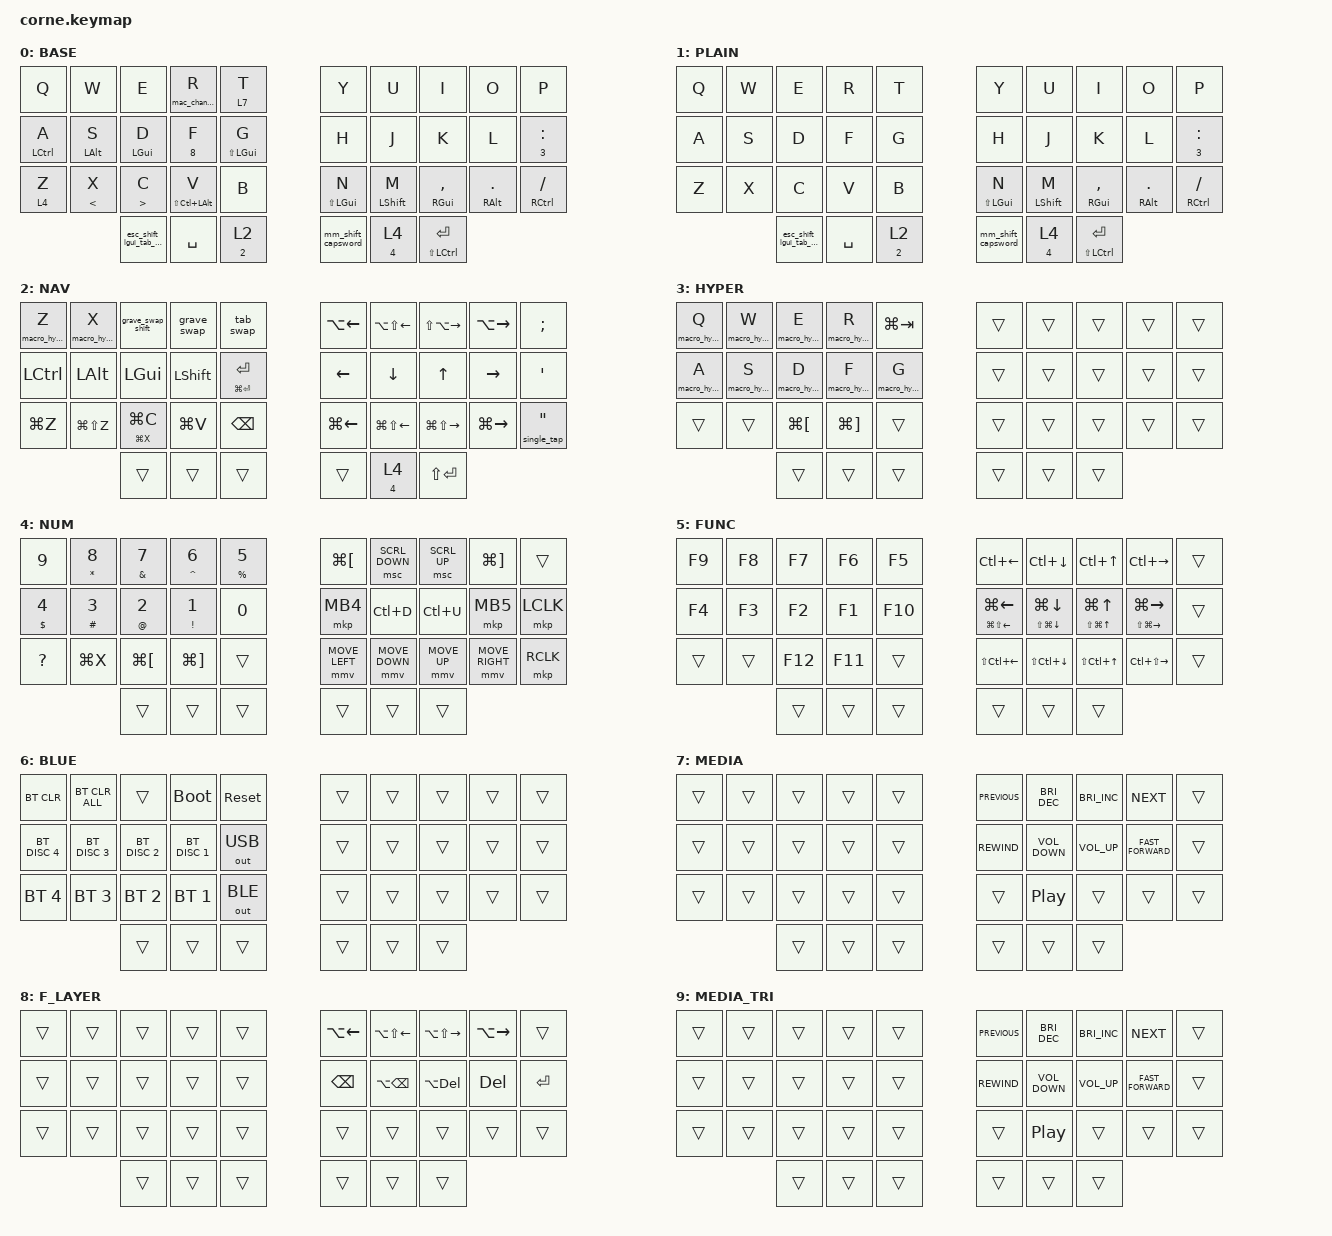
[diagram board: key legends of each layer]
/*
 * Copyright (c) 2020 The ZMK Contributors
 *
 * SPDX-License-Identifier: MIT
 */

#define ZMK_POINTING_DEFAULT_MOVE_VAL 1000  // default: 600
#define ZMK_POINTING_DEFAULT_SCRL_VAL 20    // default: 10

/* Digits 0-9 and =/-/+ combos use COMBO_TYPING_PRIOR_IDLE_MS. */

#define COMBO_TYPING_PRIOR_IDLE_MS 50

#include <behaviors.dtsi>
#include <dt-bindings/zmk/bt.h>
#include <dt-bindings/zmk/keys.h>
#include <dt-bindings/zmk/outputs.h>
#include <dt-bindings/zmk/pointing.h>

&sk {
    release-after-ms = <1500>;
    quick-release;
};

&mmv {
    time-to-max-speed-ms = <2>;
    acceleration-exponent = <3>;
};

&msc {
    delay-ms = <0>;
    acceleration-exponent = <3>;
    time-to-max-speed-ms = <1>;
};

&sl { release-after-ms = <1500>; };

/ {
    chosen { zmk,physical-layout = &foostan_corne_5col_layout; };
};

/ {
    macros {
        mac_lgui_tab: mac_lgui_tab {
            compatible = "zmk,behavior-macro";
            #binding-cells = <0>;
            bindings =
                <&macro_press>,
                <&kp LEFT_GUI>,
                <&macro_tap>,
                <&kp TAB>,
                <&macro_release>,
                <&kp LEFT_GUI>;

            label = "MAC_LGUI_TAB";
        };

        mac_change_language: mac_change_language {
            compatible = "zmk,behavior-macro";
            #binding-cells = <0>;
            bindings = <&kp LC(SPC)>;
            label = "MAC_CHANGE_LANGUAGE";
        };

        macro_open_clipboard: macro_open_clipboard {
            compatible = "zmk,behavior-macro";
            #binding-cells = <0>;
            bindings =
                <&macro_press>,
                <&kp LCTRL &kp LGUI>,
                <&macro_tap>,
                <&kp C>,
                <&macro_release>,
                <&kp LCTRL &kp LGUI>;

            label = "MACRO_OPEN_CLIPBOARD";
        };

        single_tap: single_tap {
            compatible = "zmk,behavior-macro-one-param";
            #binding-cells = <1>;
            bindings =
                <&macro_param_1to1>,
                <&macro_tap>,
                <&kp MACRO_PLACEHOLDER>,
                <&macro_wait_time 200>;

            label = "SINGLE_TAP";
        };

        mm_shift_capsword: mm_shift_capsword {
            compatible = "zmk,behavior-mod-morph";
            label = "MM_SHIFT_CAPSWORD";
            bindings =
                <&ht_sk_shift_capsword LEFT_SHIFT LEFT_SHIFT>,
                <&caps_word>;

            #binding-cells = <0>;
            mods = <(MOD_LSFT)>;
        };

        macro_hyperkey: macro_hyperkey {
            compatible = "zmk,behavior-macro-one-param";
            #binding-cells = <1>;
            bindings =
                <&macro_press>,
                <&kp LS(LA(LC(LG(LGUI)))) &macro_param_1to1>,
                <&macro_tap>,
                <&kp MACRO_PLACEHOLDER>,
                <&macro_pause_for_release>,
                <&macro_release>,
                <&kp LS(LA(LC(LG(LGUI))))>;

            label = "MACRO_HYPERKEY";
        };

        macro_mo_default_on_release: macro_default_on_release {
            compatible = "zmk,behavior-macro-one-param";
            #binding-cells = <1>;
            bindings =
                <&macro_press>,
                <&macro_param_1to1 &mo MACRO_PLACEHOLDER>,
                <&macro_pause_for_release>,
                <&macro_release>,
                <&macro_param_1to1 &mo MACRO_PLACEHOLDER>,
                <&macro_tap>,
                <&to 0>;

            label = "MACRO_DEFAULT_ON_RELEASE";
        };

        /* Same as above, but returns to PLAIN (layer 1) instead of BASE. */

        macro_mo_plain_on_release: macro_plain_on_release {
            compatible = "zmk,behavior-macro-one-param";
            #binding-cells = <1>;
            bindings =
                <&macro_press>,
                <&macro_param_1to1 &mo MACRO_PLACEHOLDER>,
                <&macro_pause_for_release>,
                <&macro_release>,
                <&macro_param_1to1 &mo MACRO_PLACEHOLDER>,
                <&macro_tap>,
                <&to 1>;

            label = "MACRO_PLAIN_ON_RELEASE";
        };
    };

    combos {
        compatible = "zmk,combos";

        mac_screenshot_clipboard {
            bindings = <&kp LS(LC(LG(NUMBER_4)))>;
            key-positions = <1 2 3>;
        };

        combo_minus {
            bindings = <&kp MINUS>;
            key-positions = <12 13>;
            require-prior-idle-ms = <COMBO_TYPING_PRIOR_IDLE_MS>;
        };

        mac_screenshot_image {
            bindings = <&kp LS(LG(NUMBER_4))>;
            key-positions = <2 3 4>;
        };

        tab_combo {
            bindings = <&kp TAB>;
            key-positions = <13 23>;
        };

        combo_tab_shift {
            bindings = <&kp LS(TAB)>;
            key-positions = <16 26>;
        };

        combo_zero {
            bindings = <&kp KP_NUMBER_0>;
            key-positions = <14 4 24>;
            require-prior-idle-ms = <COMBO_TYPING_PRIOR_IDLE_MS>;
        };

        combo_one {
            bindings = <&long_combo_th EXCL NUMBER_1>;
            key-positions = <13 3 23>;
            require-prior-idle-ms = <COMBO_TYPING_PRIOR_IDLE_MS>;
        };

        combo_two {
            bindings = <&long_combo_th AT_SIGN NUMBER_2>;
            key-positions = <12 2 22>;
            require-prior-idle-ms = <COMBO_TYPING_PRIOR_IDLE_MS>;
        };

        combo_three {
            bindings = <&long_combo_th HASH NUMBER_3>;
            key-positions = <11 1 21>;
            require-prior-idle-ms = <COMBO_TYPING_PRIOR_IDLE_MS>;
        };

        combo_four {
            bindings = <&long_combo_th DOLLAR NUMBER_4>;
            key-positions = <10 0 20>;
            require-prior-idle-ms = <COMBO_TYPING_PRIOR_IDLE_MS>;
        };

        combo_five {
            bindings = <&long_combo_th PERCENT KP_NUMBER_5>;
            key-positions = <15 5 25>;
            require-prior-idle-ms = <COMBO_TYPING_PRIOR_IDLE_MS>;
        };

        combo_six {
            bindings = <&long_combo_th CARET KP_NUMBER_6>;
            key-positions = <16 6 26>;
            require-prior-idle-ms = <COMBO_TYPING_PRIOR_IDLE_MS>;
        };

        combo_seven {
            bindings = <&long_combo_th AMPERSAND KP_N7>;
            key-positions = <17 7 27>;
            require-prior-idle-ms = <COMBO_TYPING_PRIOR_IDLE_MS>;
        };

        combo_eight {
            bindings = <&kp KP_NUMBER_8>;
            key-positions = <18 8 28>;
            require-prior-idle-ms = <COMBO_TYPING_PRIOR_IDLE_MS>;
        };

        combo_nine {
            bindings = <&kp KP_NUMBER_9>;
            key-positions = <19 9 29>;
            require-prior-idle-ms = <COMBO_TYPING_PRIOR_IDLE_MS>;
        };

        combo_ampersand {
            bindings = <&kp AMPERSAND>;
            key-positions = <17 7 27>;
            layers = <2>;
        };

        combo_caret {
            bindings = <&kp CARET>;
            key-positions = <16 6 26>;
            layers = <2>;
        };

        combo_percent {
            bindings = <&kp PERCENT>;
            key-positions = <15 5 25>;
            layers = <2>;
        };

        combo_five_hand {
            bindings = <&kp KP_NUMBER_5>;
            key-positions = <14 4 24>;
            layers = <2>;
        };

        combo_six_hand {
            bindings = <&kp KP_N6>;
            key-positions = <13 3 23>;
            layers = <2>;
        };

        combo_seven_hand {
            bindings = <&kp KP_NUMBER_7>;
            key-positions = <2 12 22>;
            layers = <2>;
        };

        combo_eight_hand {
            bindings = <&kp KP_N8>;
            key-positions = <11 1>;
            layers = <2>;
        };

        combo_nine_hand {
            bindings = <&kp N9>;
            key-positions = <10 0>;
            layers = <2>;
        };

        lalt_lshift_combo {
            bindings = <&kp LS(LALT)>;
            key-positions = <13 11>;
        };

        lctrl_lshift_combo {
            bindings = <&kp LS(LCTRL)>;
            key-positions = <13 10>;
        };

        lgui_lcombo_r_combo {
            bindings = <&kp LS(LGUI)>;
            key-positions = <26 27 25 28 29>;
        };

        lalt_lshift_r_combo {
            bindings = <&kp LS(LALT)>;
            key-positions = <26 28>;
        };

        lctrl_lshift_r_combo {
            bindings = <&kp LS(LCTRL)>;
            key-positions = <26 29>;
        };

        combo_plus {
            bindings = <&kp PLUS>;
            key-positions = <23 22>;
            require-prior-idle-ms = <COMBO_TYPING_PRIOR_IDLE_MS>;
        };

        combo_equals {
            bindings = <&kp EQUAL>;
            key-positions = <23 24>;
            require-prior-idle-ms = <COMBO_TYPING_PRIOR_IDLE_MS>;
        };

        combo_underscore {
            bindings = <&kp UNDER>;
            key-positions = <17 16>;
        };

        combo_bt_select_1 {
            bindings = <&bt BT_SEL 1>;
            key-positions = <6 8 7>;
        };

        combo_bt_select_2 {
            bindings = <&bt BT_SEL 2>;
            key-positions = <16 17 18>;
        };

        combo_blue_layer {
            bindings = <&mo 6>;
            key-positions = <9 29>;
        };

        combo-left-par {
            bindings = <&semi_long_th_kp PERCENT LEFT_BRACE>;
            key-positions = <14 4>;
        };

        combo_right_par {
            bindings = <&kp RIGHT_BRACE>;
            key-positions = <15 5>;
        };

        combo_grave {
            bindings = <&ht_single_tap TILDE GRAVE>;
            key-positions = <3 13>;
        };

        combo_at {
            bindings = <&kp AT_SIGN>;
            key-positions = <12 11>;
        };

        combo_hash {
            bindings = <&kp HASH>;
            key-positions = <27 17>;
        };

        combo_dollar {
            bindings = <&kp DOLLAR>;
            key-positions = <14 24>;
        };

        combo_clipbaord {
            bindings = <&macro_open_clipboard>;
            key-positions = <12 22>;
        };

        combo_left_bracket {
            bindings = <&ht_single_tap LEFT_BRACE LEFT_BRACKET>;
            key-positions = <12 2>;
        };

        combo_right_bracket {
            bindings = <&ht_single_tap RIGHT_BRACE RIGHT_BRACKET>;
            key-positions = <17 7>;
        };

        combo_left_parenth {
            bindings = <&kp LEFT_PARENTHESIS>;
            key-positions = <11 1>;
        };

        combo_right_parenth {
            bindings = <&kp RIGHT_PARENTHESIS>;
            key-positions = <18 8>;
        };

        combo_backslash {
            bindings = <&ht_single_tap PIPE BACKSLASH>;
            key-positions = <16 6>;
        };

        combo_excl_mark {
            bindings = <&kp EXCL>;
            key-positions = <17 18 19 16 15>;
        };

        combo_asterisk {
            bindings = <&kp ASTERISK>;
            key-positions = <26 27>;
        };

        combo_amp {
            bindings = <&kp AMPS>;
            key-positions = <17 18>;
        };

        combo_excl_2 {
            bindings = <&kp EXCL>;
            key-positions = <13 2>;
        };

        combo_question {
            bindings = <&kp QUESTION>;
            key-positions = <7 16>;
        };

        combo_plain_layer {
            bindings = <&tog 1>;
            key-positions = <0 9>;
        };

        combo_semi_colon {
            bindings = <&kp SEMI>;
            key-positions = <18 28>;
        };
    };

    behaviors {
        long_mo_tp: long_mo_tp {
            compatible = "zmk,behavior-hold-tap";
            label = "LONG_MO_TP";
            bindings = <&mo>, <&kp>;

            #binding-cells = <2>;
            require-prior-idle-ms = <300>;
            tapping-term-ms = <250>;
            flavor = "tap-preferred";
        };

        long_th_kp: long_th_kp {
            compatible = "zmk,behavior-hold-tap";
            label = "LONG_TH_KP";
            bindings = <&kp>, <&kp>;

            #binding-cells = <2>;
            require-prior-idle-ms = <300>;
            tapping-term-ms = <250>;
            flavor = "tap-preferred";
        };

        tab_swap: tab_swap {
            compatible = "zmk,behavior-tri-state";
            label = "TAB_SWAPPER";
            #binding-cells = <0>;
            bindings = <&kt LGUI>, <&kp TAB>, <&kt LGUI>;

            ignored-key-positions = <43>;
        };

        grave_swap: grave_swap {
            compatible = "zmk,behavior-tri-state";
            label = "GRAVE_SWAPPER";
            #binding-cells = <0>;
            bindings = <&kt LGUI>, <&kp GRAVE>, <&kt LGUI>;

            ignored-key-positions = <43>;
        };

        grave_swap_shift: grave_swap_shift {
            compatible = "zmk,behavior-tri-state";
            label = "GRAVE_SWAP_SHIFT";
            #binding-cells = <0>;
            bindings = <&kt LGUI>, <&kp LS(GRAVE)>, <&kt LGUI>;

            ignored-key-positions = <43>;
        };

        ht_single_tap: ht_single_tap {
            compatible = "zmk,behavior-hold-tap";
            label = "HT_SINGLE_TAP";
            bindings = <&single_tap>, <&kp>;

            #binding-cells = <2>;
            tapping-term-ms = <145>;
            flavor = "tap-preferred";
        };

        ht_maclanguage_r: ht_maclanguage_r {
            compatible = "zmk,behavior-hold-tap";
            label = "HT_MACLANGUAGE_R";
            bindings = <&mac_change_language>, <&kp>;

            #binding-cells = <2>;
            tapping-term-ms = <175>;
            flavor = "tap-preferred";
        };

        ht_sk_shift_capsword: ht_sk_shift_capsword {
            compatible = "zmk,behavior-hold-tap";
            label = "HT_SK_SHIFT_CAPSWORD";
            bindings = <&kp>, <&sk>;

            #binding-cells = <2>;
            tapping-term-ms = <200>;
            flavor = "tap-preferred";
            hold-trigger-key-positions = <1 2 3 4 5 15 16 17 18 19 29 30 31 32 33>;
        };

        ht_single_tap_weak: ht_single_tap_weak {
            compatible = "zmk,behavior-hold-tap";
            label = "HT_SINGLE_TAP_WEAK";
            bindings = <&single_tap>, <&kp>;

            #binding-cells = <2>;
            tapping-term-ms = <275>;
            flavor = "tap-preferred";
        };

        long_combo_th: long_combo_th {
            compatible = "zmk,behavior-hold-tap";
            label = "LONG_COMBO_TH";
            bindings = <&single_tap>, <&kp>;

            #binding-cells = <2>;
            require-prior-idle-ms = <0>;
            tapping-term-ms = <250>;
            flavor = "tap-preferred";
        };

        semi_long_th_kp: semi_long_th_kp {
            compatible = "zmk,behavior-hold-tap";
            label = "SEMI_LONG_TH_KP";
            bindings = <&kp>, <&kp>;

            #binding-cells = <2>;
            require-prior-idle-ms = <150>;
            tapping-term-ms = <175>;
            flavor = "tap-preferred";
        };

        ht_single_tap_semi_weak: ht_single_tap_semi_weak {
            compatible = "zmk,behavior-hold-tap";
            label = "HT_SINGLE_TAP_SEMI_WEAK";
            bindings = <&single_tap>, <&kp>;

            #binding-cells = <2>;
            tapping-term-ms = <200>;
            flavor = "tap-preferred";
        };

        mo_sl_trigger: mo_sl_trigger {
            compatible = "zmk,behavior-hold-tap";
            bindings = <&macro_mo_default_on_release>, <&sl>;

            #binding-cells = <2>;
            flavor = "balanced";
            tapping-term-ms = <150>;
            hold-trigger-key-positions = <6 7 8 5 14 13 4 3 2 12 11 1 0 10 24 21 22 23 20>;
        };

        /* Shift + Esc tap: app switcher; else Esc hold-tap (NAV + Esc). Space has no morph. */

        esc_shift_lgui_tab_mm: esc_shift_lgui_tab_mm {
            compatible = "zmk,behavior-mod-morph";
            label = "ESC_SHIFT_LGUI_TAB_MM";
            bindings = <&short_mo_tp_esc 5 ESCAPE>, <&mac_lgui_tab>;

            #binding-cells = <0>;
            mods = <(MOD_LSFT)>;
        };

        short_mo_tp_space_hold_pref: short_mo_tp_space_hold_pref {
            compatible = "zmk,behavior-hold-tap";
            label = "SHORT_MO_TP_SPACE_HOLD_PREF";
            bindings = <&macro_mo_default_on_release>, <&kp>;

            #binding-cells = <2>;
            tapping-term-ms = <140>;
            flavor = "hold-preferred";
            hold-trigger-key-positions = <13 12 2 3 11 10 1 0 4 14>;
            hold-while-undecided;
        };

        short_mo_tp_esc: short_mo_tp_esc {
            compatible = "zmk,behavior-hold-tap";
            label = "SHORT_MO_TP_ESC";
            bindings = <&mo>, <&kp>;

            #binding-cells = <2>;
            tapping-term-ms = <150>;
            flavor = "balanced";
            hold-trigger-key-positions = <15 16 17 18 26 27 5 6 9 8 7 19 29 28 25 34 35 33>;
            hold-while-undecided;
        };

        mo_kp_f_layer: mo_kp_f_layer {
            compatible = "zmk,behavior-hold-tap";
            bindings = <&macro_mo_default_on_release>, <&kp>;

            #binding-cells = <2>;
            flavor = "hold-preferred";
            tapping-term-ms = <275>;
            label = "MO_KP_F_LAYER";
            hold-trigger-key-positions = <15 16 17 26 25>;
            require-prior-idle-ms = <75>;
        };

        mo_sl_hyper: mo_sl_hyper {
            compatible = "zmk,behavior-hold-tap";
            bindings = <&macro_mo_default_on_release>, <&sl>;

            #binding-cells = <2>;
            flavor = "balanced";
            tapping-term-ms = <150>;
            label = "MO_SL_HYPER";
            hold-trigger-key-positions = <5 6 7 8 9 15 16 17 18 19 25 26 27 28 29>;
        };

        /* PLAIN-layer copies: identical, but release returns to layer 1. */

        mo_sl_hyper_plain: mo_sl_hyper_plain {
            compatible = "zmk,behavior-hold-tap";
            bindings = <&macro_mo_plain_on_release>, <&sl>;

            #binding-cells = <2>;
            flavor = "balanced";
            tapping-term-ms = <150>;
            label = "MO_SL_HYPER_PLAIN";
            hold-trigger-key-positions = <5 6 7 8 9 15 16 17 18 19 25 26 27 28 29>;
        };

        mo_sl_trigger_plain: mo_sl_trigger_plain {
            compatible = "zmk,behavior-hold-tap";
            bindings = <&macro_mo_plain_on_release>, <&sl>;

            #binding-cells = <2>;
            flavor = "balanced";
            tapping-term-ms = <150>;
            hold-trigger-key-positions = <6 7 8 5 14 13 4 3 2 12 11 1 0 10 24 21 22 23 20>;
        };

        short_mo_tp_space_hold_pref_plain: short_mo_tp_space_hold_pref_plain {
            compatible = "zmk,behavior-hold-tap";
            label = "SHORT_MO_TP_SPACE_HOLD_PREF_PLAIN";
            bindings = <&macro_mo_plain_on_release>, <&kp>;

            #binding-cells = <2>;
            tapping-term-ms = <140>;
            flavor = "hold-preferred";
            hold-trigger-key-positions = <13 12 2 3 11 10 1 0 4 14>;
            hold-while-undecided;
        };
    };

    keymap {
        compatible = "zmk,keymap";

        BASE {
            display-name = "BASE";
            bindings = <
  &kp Q                     &kp W                            &kp E                               &ht_maclanguage_r 0 R       &long_mo_tp 7 T                  &kp Y                   &kp U                 &kp I                               &kp O                      &kp P
  &semi_long_th_kp LCTRL A  &semi_long_th_kp LALT S          &semi_long_th_kp LGUI D             &mo_kp_f_layer 8 F          &semi_long_th_kp LS(LGUI) G      &kp H                   &kp J                 &kp K                               &kp L                      &short_mo_tp_space_hold_pref 3 COLON
  &long_mo_tp 4 Z           &ht_single_tap_weak LESS_THAN X  &ht_single_tap_weak GREATER_THAN C  &long_th_kp LS(LC(LALT)) V  &kp B                            &long_th_kp LS(LGUI) N  &long_th_kp LSHIFT M  &long_th_kp RIGHT_GUI COMMA         &long_th_kp RIGHT_ALT DOT  &long_th_kp RIGHT_CONTROL FSLH
                                                             &esc_shift_lgui_tab_mm              &kp SPACE                   &mo_sl_hyper 2 2                 &mm_shift_capsword      &mo_sl_trigger 4 4    &long_th_kp LS(LEFT_CONTROL) ENTER
            >;
        };

        PLAIN {
            display-name = "PLAIN";
            bindings = <
  &kp Q  &kp W  &kp E                   &kp R      &kp T                       &kp Y                   &kp U                     &kp I                               &kp O                      &kp P
  &kp A  &kp S  &kp D                   &kp F      &kp G                       &kp H                   &kp J                     &kp K                               &kp L                      &short_mo_tp_space_hold_pref_plain 3 COLON
  &kp Z  &kp X  &kp C                   &kp V      &kp B                       &long_th_kp LS(LGUI) N  &long_th_kp LSHIFT M      &long_th_kp RIGHT_GUI COMMA         &long_th_kp RIGHT_ALT DOT  &long_th_kp RIGHT_CONTROL FSLH
                &esc_shift_lgui_tab_mm  &kp SPACE  &mo_sl_hyper_plain 2 2      &mm_shift_capsword      &mo_sl_trigger_plain 4 4  &long_th_kp LS(LEFT_CONTROL) ENTER
            >;
        };

        NAV {
            bindings = <
  &macro_hyperkey Z  &macro_hyperkey X  &grave_swap_shift        &grave_swap     &tab_swap                           &kp LA(LEFT)    &kp LA(LS(LEFT))    &kp LS(LA(RIGHT))  &kp LA(RIGHT)  &kp SEMICOLON
  &kp LCTRL          &kp LALT           &kp LGUI                 &kp LEFT_SHIFT  &ht_single_tap LG(ENTER) ENTER      &kp LEFT_ARROW  &kp DOWN            &kp UP_ARROW       &kp RIGHT      &kp APOSTROPHE
  &kp LG(Z)          &kp LG(LS(Z))      &long_th_kp LG(X) LG(C)  &kp LG(V)       &kp BACKSPACE                       &kp LG(LEFT)    &kp LG(LS(LEFT))    &kp LG(LS(RIGHT))  &kp LG(RIGHT)  &single_tap DOUBLE_QUOTES
                                        &trans                   &trans          &trans                              &trans          &mo_sl_trigger 4 4  &kp LS(ENTER)
            >;

            label = "NAV";
        };

        HYPER {
            label = "HYPER";
            bindings = <
  &macro_hyperkey Q  &macro_hyperkey W  &macro_hyperkey E     &macro_hyperkey R      &kp LG(TAB)            &trans  &trans  &trans  &trans  &trans
  &macro_hyperkey A  &macro_hyperkey S  &macro_hyperkey D     &macro_hyperkey F      &macro_hyperkey G      &trans  &trans  &trans  &trans  &trans
  &trans             &trans             &kp LG(LEFT_BRACKET)  &kp LG(RIGHT_BRACKET)  &trans                 &trans  &trans  &trans  &trans  &trans
                                        &trans                &trans                 &trans                 &trans  &trans  &trans
            >;
        };

        NUM {
            display-name = "NUM";
            bindings = <
  &kp N9                                    &ht_single_tap ASTERISK N8              &ht_single_tap_semi_weak AMPS N7      &ht_single_tap_semi_weak CARET NUMBER_6  &ht_single_tap_semi_weak PERCENT N5      &kp LG(LEFT_BRACKET)  &msc SCRL_DOWN  &msc SCRL_UP  &kp LG(RIGHT_BRACKET)  &trans
  &ht_single_tap_semi_weak DOLLAR NUMBER_4  &ht_single_tap_semi_weak HASH NUMBER_3  &ht_single_tap_semi_weak AT NUMBER_2  &ht_single_tap_semi_weak EXCL NUMBER_1   &kp N0                                   &mkp MB4              &kp LC(D)       &kp LC(U)     &mkp MB5               &mkp LCLK
  &kp QUESTION                              &kp LG(X)                               &kp LG(LEFT_BRACKET)                  &kp LG(RIGHT_BRACKET)                    &trans                                   &mmv MOVE_LEFT        &mmv MOVE_DOWN  &mmv MOVE_UP  &mmv MOVE_RIGHT        &mkp RCLK
                                                                                    &trans                                &trans                                   &trans                                   &trans                &trans          &trans
            >;
        };

        FUNC {
            display-name = "FUNC";
            bindings = <
  &kp F9  &kp F8  &kp F7   &kp F6   &kp F5       &kp LC(LEFT)                               &kp LC(DOWN)                               &kp LC(UP)                                         &kp LC(RIGHT)                                &trans
  &kp F4  &kp F3  &kp F2   &kp F1   &kp F10      &ht_single_tap_weak LG(LS(LEFT)) LG(LEFT)  &ht_single_tap_weak LS(LG(DOWN)) LG(DOWN)  &ht_single_tap_weak LS(LG(UP_ARROW)) LG(UP_ARROW)  &ht_single_tap_weak LS(LG(RIGHT)) LG(RIGHT)  &trans
  &trans  &trans  &kp F12  &kp F11  &trans       &kp LS(LC(LEFT))                           &kp LS(LC(DOWN))                           &kp LS(LC(UP))                                     &kp LC(LS(RIGHT))                            &trans
                  &trans   &trans   &trans       &trans                                     &trans                                     &trans
            >;
        };

        BLUE {
            bindings = <
  &bt BT_CLR     &bt BT_CLR_ALL  &trans         &bootloader    &sys_reset        &trans  &trans  &trans  &trans  &trans
  &bt BT_DISC 4  &bt BT_DISC 3   &bt BT_DISC 2  &bt BT_DISC 1  &out OUT_USB      &trans  &trans  &trans  &trans  &trans
  &bt BT_SEL 4   &bt BT_SEL 3    &bt BT_SEL 2   &bt BT_SEL 1   &out OUT_BLE      &trans  &trans  &trans  &trans  &trans
                                 &trans         &trans         &trans            &trans  &trans  &trans
            >;

            label = "BLUE";
        };

        MEDIA {
            bindings = <
  &trans  &trans  &trans  &trans  &trans      &kp C_PREVIOUS  &kp C_BRIGHTNESS_DEC  &kp C_BRIGHTNESS_INC  &kp C_NEXT          &trans
  &trans  &trans  &trans  &trans  &trans      &kp C_REWIND    &kp C_VOLUME_DOWN     &kp C_VOLUME_UP       &kp C_FAST_FORWARD  &trans
  &trans  &trans  &trans  &trans  &trans      &trans          &kp C_PP              &trans                &trans              &trans
                  &trans  &trans  &trans      &trans          &trans                &trans
            >;

            label = "MEDIA";
        };

        F_LAYER {
            display-name = "F_LAYER";
            bindings = <
  &trans  &trans  &trans  &trans  &trans      &kp LA(LEFT)  &kp LA(LS(LEFT_ARROW))  &kp LA(LS(RIGHT))  &kp LA(RIGHT)  &trans
  &trans  &trans  &trans  &trans  &trans      &kp BSPC      &kp LA(BSPC)            &kp LA(DELETE)     &kp DELETE     &kp ENTER
  &trans  &trans  &trans  &trans  &trans      &trans        &trans                  &trans             &trans         &trans
                  &trans  &trans  &trans      &trans        &trans                  &trans
            >;
        };

        /* Copy of MEDIA for the NAV + NUM tri-layer. A conditional then-layer is
           force-deactivated whenever its if-layers aren't all held, so it can't
           also be the target of &long_mo_tp 7 T. Keep in sync with MEDIA. */

        MEDIA_TRI {
            display-name = "MEDIA_TRI";
            bindings = <
  &trans  &trans  &trans  &trans  &trans      &kp C_PREVIOUS  &kp C_BRIGHTNESS_DEC  &kp C_BRIGHTNESS_INC  &kp C_NEXT          &trans
  &trans  &trans  &trans  &trans  &trans      &kp C_REWIND    &kp C_VOLUME_DOWN     &kp C_VOLUME_UP       &kp C_FAST_FORWARD  &trans
  &trans  &trans  &trans  &trans  &trans      &trans          &kp C_PP              &trans                &trans              &trans
                  &trans  &trans  &trans      &trans          &trans                &trans
            >;
        };
    };

    conditional_layers {
        compatible = "zmk,conditional-layers";

        /* NAV + NUM held together -> MEDIA_TRI */

        tri_layer_media {
            if-layers = <2 4>;
            then-layer = <9>;
        };
    };
};
